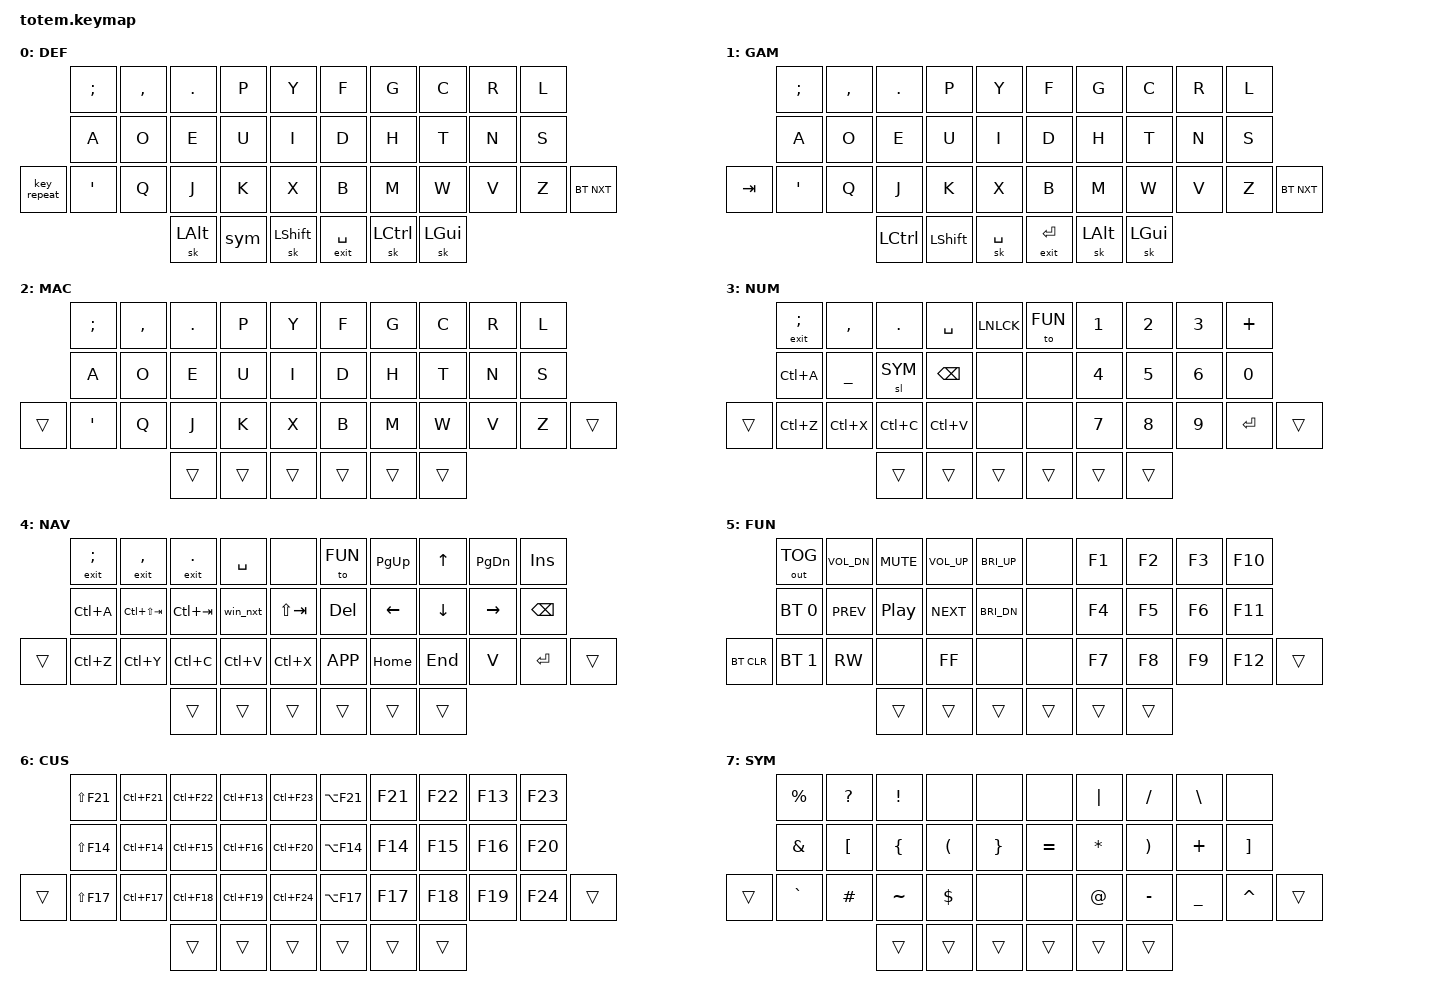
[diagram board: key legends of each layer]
//
//                                                        ▀▀▀▀▀     ▀▀▀▀▀          ▀▀█▀▀
//                                                        ▄▀▀▀▄  ▄  ▄▀▀▀▄  ▄  ▄▀▀▀▄  █  ▄▀▀▀▄
//                                                        █   █  █  █   █  █  █   █  █  █   █
//                                                         ▀▀▀   █   ▀▀▀   █   ▀▀▀   ▀   ▀▀▀
//                                                               █      ▄▄▄█▄▄▄    █   █  
//                                                               ▀      █  █  █     █▄█
//                                                             ▀▀▀▀▀    █  █  █      ▀
//                                                                      ▀  ▀  ▀
//
// ▄▄▄▄▄▄▄▄▄▄▄▄▄▄▄▄▄▄▄▄▄▄▄▄▄▄▄▄▄▄▄▄▄▄▄▄▄▄▄▄▄▄▄▄▄▄▄▄▄▄▄▄▄▄▄▄▄▄▄▄▄▄▄▄▄▄▄▄▄▄▄▄▄▄▄▄▄▄▄▄▄▄▄▄▄▄▄▄▄▄▄▄▄▄▄▄▄▄▄▄▄▄▄▄▄▄▄▄▄▄▄▄▄▄▄▄▄▄▄▄▄▄▄▄▄▄▄▄▄▄▄▄▄▄▄▄▄▄▄▄▄▄▄▄▄▄▄▄▄
       

#include <behaviors.dtsi>
#include <dt-bindings/zmk/keys.h>
#include <dt-bindings/zmk/bt.h>
#include <dt-bindings/zmk/outputs.h>

#define DEF 0
#define GAM 1
#define MAC 2
#define NUM 3
#define NAV 4
#define FUN 5
#define CUS 6
#define SYM 7

&mt {
  quick-tap-ms = <100>;
  global-quick-tap;
  flavor = "tap-preferred";
  tapping-term-ms = <170>;
};

&sk {
    release-after-ms = <2500>;
};
&sl {
    release-after-ms = <2500>;
};

/ {
     combos {
            compatible = "zmk,combos";
            combo_def {
                timeout-ms = <50>;
                key-positions = <11 12 13>;
                bindings = <&def>;
            };
            combo_esc {
                timeout-ms = <50>;
                key-positions = <10 11 12 13>;
                bindings = <&exit ESC>;
            };
            combo_bspc {
                timeout-ms = <50>;
                key-positions = <22 23>;
                bindings = <&exit BSPC>;
            };
            combo_enter {
                timeout-ms = <50>;
                key-positions = <23 24>;
                bindings = <&exit ENTER>;
            };
            combo_caps_word {
                timeout-ms = <50>;
                key-positions = <22 23 24>;
                bindings = <&caps_word>;
            };
            combo_tab {
                timeout-ms = <50>;
                key-positions = <27 28>;
                bindings = <&kp TAB>;
            };
            combo_alt_tab {
                timeout-ms = <50>;
                key-positions = <28 29>;
                bindings = <&kp LA(TAB)>;
            };
            combo_nav {
                timeout-ms = <50>;
                key-positions = <16 17 18>;
                bindings = <&to NAV>;
            };
            combo_esc_nav {
                timeout-ms = <50>;
                key-positions = <17 18 19>;
                bindings = <&esc_nav>;
            };
            combo_num {
                timeout-ms = <50>;
                key-positions = <16 17 18 19>;
                bindings = <&to NUM>;
            };
            combo_cus {
                timeout-ms = <50>;
                key-positions = <27 28 29>;
                bindings = <&sl CUS>;
            };
            combo_gam {
                timeout-ms = <50>;
                key-positions = <21 22 23 24>;
                bindings = <&to GAM>;
            };
    };

	macros {
		exit: exit {
            compatible = "zmk,behavior-macro-one-param";
            #binding-cells = <1>;
            bindings
				= <&to DEF>
				, <&macro_param_1to1>
				, <&macro_press &kp 0>
				, <&macro_pause_for_release>
				, <&macro_param_1to1>
				, <&macro_release &kp 0>
				;
		};
		def: def {
            compatible = "zmk,behavior-macro";
            #binding-cells = <0>;
            bindings
				= <&to DEF>
				, <&kp K_CANCEL>
				;
		};
		esc_nav: esc_nav {
            compatible = "zmk,behavior-macro";
            #binding-cells = <0>;
            bindings
				= <&to NAV>
				, <&kp K_CANCEL>
				, <&kp ESC>
				;
		};
		sym: sym {
            compatible = "zmk,behavior-macro";
            #binding-cells = <0>;
            bindings
				= <&to DEF>
				, <&sl SYM>
				;
		};
	};
	behaviors {
        win_nxt: win_nxt {
            compatible = "zmk,behavior-smart-toggle";
            #binding-cells = <0>;
            bindings = <&kp LALT>, <&kp TAB>;
            ignored-key-positions = <14>;
        };
    };


        keymap {
                compatible = "zmk,keymap";
// ▄▄▄▄▄▄▄▄▄▄▄▄▄▄▄▄▄▄▄▄▄▄▄▄▄▄▄▄▄▄▄▄▄▄▄▄▄▄▄▄▄▄▄▄▄▄▄▄▄▄▄▄▄▄▄▄▄▄▄▄▄▄▄▄▄▄▄▄▄▄▄▄▄▄▄▄▄▄▄▄▄▄▄▄▄▄▄▄▄▄▄▄▄▄▄▄▄▄▄▄▄▄▄▄▄▄▄▄▄▄▄▄▄▄▄▄▄▄▄▄▄▄▄▄▄▄▄▄▄▄▄▄▄▄▄▄▄▄▄▄▄▄▄▄▄▄▄▄▄

                def_layer {
// ┏━━━━━━━━━━━━━━━━━━━━━━━━━━━━━━━━━━━━━━━┓
label= "DEF"                               ;
// ┗━━━━━━━━━━━━━━━━━━━━━━━━━━━━━━━━━━━━━━━┛
//             ┏━━━━━━━━━━━┳━━━━━━━━━━━┳━━━━━━━━━━━┳━━━━━━━━━━━┳━━━━━━━━━━━┓   ┏━━━━━━━━━━━┳━━━━━━━━━━━┳━━━━━━━━━━━┳━━━━━━━━━━━┳━━━━━━━━━━━┓
//             ┃     0     ┃     1     ┃     2     ┃     3     ┃     4     ┃   ┃     5     ┃     6     ┃     7     ┃     8     ┃     9     ┃
//             ┣━━━━━━━━━━━╋━━━━━━━━━━━╋━━━━━━━━━━━╋━━━━━━━━━━━╋━━━━━━━━━━━┫   ┣━━━━━━━━━━━╋━━━━━━━━━━━╋━━━━━━━━━━━╋━━━━━━━━━━━╋━━━━━━━━━━━┫
//             ┃    10     ┃    11     ┃    12     ┃    13     ┃    14     ┃   ┃    15     ┃    16     ┃    17     ┃    18     ┃    19     ┃
// ┏━━━━━━━━━━━╋━━━━━━━━━━━╋━━━━━━━━━━━╋━━━━━━━━━━━╋━━━━━━━━━━━╋━━━━━━━━━━━┫   ┣━━━━━━━━━━━╋━━━━━━━━━━━╋━━━━━━━━━━━╋━━━━━━━━━━━╋━━━━━━━━━━━╋━━━━━━━━━━━┓
// ┃    20     ┃    21     ┃    22     ┃    23     ┃    24     ┃    25     ┃   ┃    26     ┃    27     ┃    28     ┃    29     ┃    30     ┃    31     ┃
// ┗━━━━━━━━━━━┻━━━━━━━━━━━┻━━━━━━━━━━━╋━━━━━━━━━━━╋━━━━━━━━━━━╋━━━━━━━━━━━┫   ┣━━━━━━━━━━━╋━━━━━━━━━━━╋━━━━━━━━━━━╋━━━━━━━━━━━┻━━━━━━━━━━━┻━━━━━━━━━━━┛
//                                     ┃    32     ┃    33     ┃    34     ┃   ┃    35     ┃    36     ┃    37     ┃
//                                     ┗━━━━━━━━━━━┻━━━━━━━━━━━┻━━━━━━━━━━━┛   ┗━━━━━━━━━━━┻━━━━━━━━━━━┻━━━━━━━━━━━┛
 bindings = <
// ╷           ╷           ╷           ╷           ╷           ╷           ╷   ╷           ╷           ╷           ╷           ╷           ╷           ╷

                &kp SEMI    &kp COMMA   &kp DOT     &kp P       &kp Y           &kp F       &kp G       &kp C       &kp R       &kp L
                &kp A       &kp O       &kp E       &kp U       &kp I           &kp D       &kp H       &kp T       &kp N       &kp S
    &key_repeat &kp SQT     &kp Q       &kp J       &kp K       &kp X           &kp B       &kp M       &kp W       &kp V       &kp Z       &bt BT_NXT
                                        &sk LALT    &sym        &sk LSHFT       &exit SPACE &sk LCTRL   &sk LGUI
                        >;
                };

// ▄▄▄▄▄▄▄▄▄▄▄▄▄▄▄▄▄▄▄▄▄▄▄▄▄▄▄▄▄▄▄▄▄▄▄▄▄▄▄▄▄▄▄▄▄▄▄▄▄▄▄▄▄▄▄▄▄▄▄▄▄▄▄▄▄▄▄▄▄▄▄▄▄▄▄▄▄▄▄▄▄▄▄▄▄▄▄▄▄▄▄▄▄▄▄▄▄▄▄▄▄▄▄▄▄▄▄▄▄▄▄▄▄▄▄▄▄▄▄▄▄▄▄▄▄▄▄▄▄▄▄▄▄▄▄▄▄▄▄▄▄▄▄▄▄▄▄▄▄

                game_layer {
// ┏━━━━━━━━━━━━━━━━━━━━━━━━━━━━━━━━━━━━━━━┓
label= "GAM"                               ;
// ┗━━━━━━━━━━━━━━━━━━━━━━━━━━━━━━━━━━━━━━━┛
//             ┏━━━━━━━━━━━┳━━━━━━━━━━━┳━━━━━━━━━━━┳━━━━━━━━━━━┳━━━━━━━━━━━┓   ┏━━━━━━━━━━━┳━━━━━━━━━━━┳━━━━━━━━━━━┳━━━━━━━━━━━┳━━━━━━━━━━━┓
//             ┃     0     ┃     1     ┃     2     ┃     3     ┃     4     ┃   ┃     5     ┃     6     ┃     7     ┃     8     ┃     9     ┃
//             ┣━━━━━━━━━━━╋━━━━━━━━━━━╋━━━━━━━━━━━╋━━━━━━━━━━━╋━━━━━━━━━━━┫   ┣━━━━━━━━━━━╋━━━━━━━━━━━╋━━━━━━━━━━━╋━━━━━━━━━━━╋━━━━━━━━━━━┫
//             ┃    10     ┃    11     ┃    12     ┃    13     ┃    14     ┃   ┃    15     ┃    16     ┃    17     ┃    18     ┃    19     ┃
// ┏━━━━━━━━━━━╋━━━━━━━━━━━╋━━━━━━━━━━━╋━━━━━━━━━━━╋━━━━━━━━━━━╋━━━━━━━━━━━┫   ┣━━━━━━━━━━━╋━━━━━━━━━━━╋━━━━━━━━━━━╋━━━━━━━━━━━╋━━━━━━━━━━━╋━━━━━━━━━━━┓
// ┃    20     ┃    21     ┃    22     ┃    23     ┃    24     ┃    25     ┃   ┃    26     ┃    27     ┃    28     ┃    29     ┃    30     ┃    31     ┃
// ┗━━━━━━━━━━━┻━━━━━━━━━━━┻━━━━━━━━━━━╋━━━━━━━━━━━╋━━━━━━━━━━━╋━━━━━━━━━━━┫   ┣━━━━━━━━━━━╋━━━━━━━━━━━╋━━━━━━━━━━━╋━━━━━━━━━━━┻━━━━━━━━━━━┻━━━━━━━━━━━┛
//                                     ┃    32     ┃    33     ┃    34     ┃   ┃    35     ┃    36     ┃    37     ┃
//                                     ┗━━━━━━━━━━━┻━━━━━━━━━━━┻━━━━━━━━━━━┛   ┗━━━━━━━━━━━┻━━━━━━━━━━━┻━━━━━━━━━━━┛
 bindings = <
// ╷           ╷           ╷           ╷           ╷           ╷           ╷   ╷           ╷           ╷           ╷           ╷           ╷           ╷

                &kp SEMI    &kp COMMA   &kp DOT     &kp P       &kp Y           &kp F       &kp G       &kp C       &kp R       &kp L
                &kp A       &kp O       &kp E       &kp U       &kp I           &kp D       &kp H       &kp T       &kp N       &kp S
    &kp TAB     &kp SQT     &kp Q       &kp J       &kp K       &kp X           &kp B       &kp M       &kp W       &kp V       &kp Z       &bt BT_NXT
                                        &kp LCTRL   &kp LSHFT   &sk SPACE       &exit ENTER &sk LALT   &sk LGUI
                        >;
                };

// ▄▄▄▄▄▄▄▄▄▄▄▄▄▄▄▄▄▄▄▄▄▄▄▄▄▄▄▄▄▄▄▄▄▄▄▄▄▄▄▄▄▄▄▄▄▄▄▄▄▄▄▄▄▄▄▄▄▄▄▄▄▄▄▄▄▄▄▄▄▄▄▄▄▄▄▄▄▄▄▄▄▄▄▄▄▄▄▄▄▄▄▄▄▄▄▄▄▄▄▄▄▄▄▄▄▄▄▄▄▄▄▄▄▄▄▄▄▄▄▄▄▄▄▄▄▄▄▄▄▄▄▄▄▄▄▄▄▄▄▄▄▄▄▄▄▄▄▄▄


                mac_layer {
// ┏━━━━━━━━━━━━━━━━━━━━━━━━━━━━━━━━━━━━━━━┓
label= "MAC"                               ;
// ┗━━━━━━━━━━━━━━━━━━━━━━━━━━━━━━━━━━━━━━━┛
//             ┏━━━━━━━━━━━┳━━━━━━━━━━━┳━━━━━━━━━━━┳━━━━━━━━━━━┳━━━━━━━━━━━┓   ┏━━━━━━━━━━━┳━━━━━━━━━━━┳━━━━━━━━━━━┳━━━━━━━━━━━┳━━━━━━━━━━━┓
//             ┃     0     ┃     1     ┃     2     ┃     3     ┃     4     ┃   ┃     5     ┃     6     ┃     7     ┃     8     ┃     9     ┃
//             ┣━━━━━━━━━━━╋━━━━━━━━━━━╋━━━━━━━━━━━╋━━━━━━━━━━━╋━━━━━━━━━━━┫   ┣━━━━━━━━━━━╋━━━━━━━━━━━╋━━━━━━━━━━━╋━━━━━━━━━━━╋━━━━━━━━━━━┫
//             ┃    10     ┃    11     ┃    12     ┃    13     ┃    14     ┃   ┃    15     ┃    16     ┃    17     ┃    18     ┃    19     ┃
// ┏━━━━━━━━━━━╋━━━━━━━━━━━╋━━━━━━━━━━━╋━━━━━━━━━━━╋━━━━━━━━━━━╋━━━━━━━━━━━┫   ┣━━━━━━━━━━━╋━━━━━━━━━━━╋━━━━━━━━━━━╋━━━━━━━━━━━╋━━━━━━━━━━━╋━━━━━━━━━━━┓
// ┃    20     ┃    21     ┃    22     ┃    23     ┃    24     ┃    25     ┃   ┃    26     ┃    27     ┃    28     ┃    29     ┃    30     ┃    31     ┃
// ┗━━━━━━━━━━━┻━━━━━━━━━━━┻━━━━━━━━━━━╋━━━━━━━━━━━╋━━━━━━━━━━━╋━━━━━━━━━━━┫   ┣━━━━━━━━━━━╋━━━━━━━━━━━╋━━━━━━━━━━━╋━━━━━━━━━━━┻━━━━━━━━━━━┻━━━━━━━━━━━┛
//                                     ┃    32     ┃    33     ┃    34     ┃   ┃    35     ┃    36     ┃    37     ┃
//                                     ┗━━━━━━━━━━━┻━━━━━━━━━━━┻━━━━━━━━━━━┛   ┗━━━━━━━━━━━┻━━━━━━━━━━━┻━━━━━━━━━━━┛
 bindings = <
// ╷           ╷           ╷           ╷           ╷           ╷           ╷   ╷           ╷           ╷           ╷           ╷           ╷           ╷

                &kp SEMI    &kp COMMA   &kp DOT     &kp P       &kp Y           &kp F       &kp G       &kp C       &kp R       &kp L
                &kp A       &kp O       &kp E       &kp U       &kp I           &kp D       &kp H       &kp T       &kp N       &kp S
    &trans      &kp SQT     &kp Q       &kp J       &kp K       &kp X           &kp B       &kp M       &kp W       &kp V       &kp Z       &trans
                                        &trans      &trans      &trans          &trans      &trans      &trans      
                        >;
                };

// ▄▄▄▄▄▄▄▄▄▄▄▄▄▄▄▄▄▄▄▄▄▄▄▄▄▄▄▄▄▄▄▄▄▄▄▄▄▄▄▄▄▄▄▄▄▄▄▄▄▄▄▄▄▄▄▄▄▄▄▄▄▄▄▄▄▄▄▄▄▄▄▄▄▄▄▄▄▄▄▄▄▄▄▄▄▄▄▄▄▄▄▄▄▄▄▄▄▄▄▄▄▄▄▄▄▄▄▄▄▄▄▄▄▄▄▄▄▄▄▄▄▄▄▄▄▄▄▄▄▄▄▄▄▄▄▄▄▄▄▄▄▄▄▄▄▄▄▄▄


                num_layer {
// ┏━━━━━━━━━━━━━━━━━━━━━━━━━━━━━━━━━━━━━━━┓
label= "NUM"                               ;
// ┗━━━━━━━━━━━━━━━━━━━━━━━━━━━━━━━━━━━━━━━┛
//             ┏━━━━━━━━━━━┳━━━━━━━━━━━┳━━━━━━━━━━━┳━━━━━━━━━━━┳━━━━━━━━━━━┓   ┏━━━━━━━━━━━┳━━━━━━━━━━━┳━━━━━━━━━━━┳━━━━━━━━━━━┳━━━━━━━━━━━┓
//             ┃           ┃           ┃           ┃           ┃           ┃   ┃           ┃           ┃           ┃           ┃           ┃
//             ┣━━━━━━━━━━━╋━━━━━━━━━━━╋━━━━━━━━━━━╋━━━━━━━━━━━╋━━━━━━━━━━━┫   ┣━━━━━━━━━━━╋━━━━━━━━━━━╋━━━━━━━━━━━╋━━━━━━━━━━━╋━━━━━━━━━━━┫
//             ┃           ┃           ┃           ┃           ┃           ┃   ┃           ┃           ┃           ┃           ┃           ┃
// ┏━━━━━━━━━━━╋━━━━━━━━━━━╋━━━━━━━━━━━╋━━━━━━━━━━━╋━━━━━━━━━━━╋━━━━━━━━━━━┫   ┣━━━━━━━━━━━╋━━━━━━━━━━━╋━━━━━━━━━━━╋━━━━━━━━━━━╋━━━━━━━━━━━╋━━━━━━━━━━━┓
// ┃           ┃           ┃           ┃           ┃           ┃           ┃   ┃           ┃           ┃           ┃           ┃           ┃           ┃
// ┗━━━━━━━━━━━┻━━━━━━━━━━━┻━━━━━━━━━━━╋━━━━━━━━━━━╋━━━━━━━━━━━╋━━━━━━━━━━━┫   ┣━━━━━━━━━━━╋━━━━━━━━━━━╋━━━━━━━━━━━╋━━━━━━━━━━━┻━━━━━━━━━━━┻━━━━━━━━━━━┛
//                                     ┃           ┃           ┃           ┃   ┃           ┃           ┃           ┃
//                                     ┗━━━━━━━━━━━┻━━━━━━━━━━━┻━━━━━━━━━━━┛   ┗━━━━━━━━━━━┻━━━━━━━━━━━┻━━━━━━━━━━━┛
 bindings = <
// ╷           ╷           ╷           ╷           ╷           ╷           ╷   ╷           ╷           ╷           ╷           ╷           ╷           ╷

                &exit SEMI  &kp COMMA   &kp DOT     &kp SPACE   &kp LNLCK       &to FUN     &kp N1      &kp N2      &kp N3      &kp PLUS
                &kp LC(A)   &kp UNDER   &sl SYM     &kp BSPC    &none           &none       &kp N4      &kp N5      &kp N6      &kp N0
    &trans      &kp LC(Z)   &kp LC(X)   &kp LC(C)   &kp LC(V)   &none           &none       &kp N7      &kp N8      &kp N9      &kp ENTER   &trans         
                                        &trans      &trans      &trans          &trans      &trans      &trans
                        >;
                };

// ▄▄▄▄▄▄▄▄▄▄▄▄▄▄▄▄▄▄▄▄▄▄▄▄▄▄▄▄▄▄▄▄▄▄▄▄▄▄▄▄▄▄▄▄▄▄▄▄▄▄▄▄▄▄▄▄▄▄▄▄▄▄▄▄▄▄▄▄▄▄▄▄▄▄▄▄▄▄▄▄▄▄▄▄▄▄▄▄▄▄▄▄▄▄▄▄▄▄▄▄▄▄▄▄▄▄▄▄▄▄▄▄▄▄▄▄▄▄▄▄▄▄▄▄▄▄▄▄▄▄▄▄▄▄▄▄▄▄▄▄▄▄▄▄▄▄▄▄▄


                nav_layer {
// ┏━━━━━━━━━━━━━━━━━━━━━━━━━━━━━━━━━━━━━━━┓
label= "NAV"                               ;
// ┗━━━━━━━━━━━━━━━━━━━━━━━━━━━━━━━━━━━━━━━┛
//             ┏━━━━━━━━━━━┳━━━━━━━━━━━┳━━━━━━━━━━━┳━━━━━━━━━━━┳━━━━━━━━━━━┓   ┏━━━━━━━━━━━┳━━━━━━━━━━━┳━━━━━━━━━━━┳━━━━━━━━━━━┳━━━━━━━━━━━┓
//             ┃           ┃           ┃           ┃           ┃           ┃   ┃           ┃           ┃           ┃           ┃           ┃
//             ┣━━━━━━━━━━━╋━━━━━━━━━━━╋━━━━━━━━━━━╋━━━━━━━━━━━╋━━━━━━━━━━━┫   ┣━━━━━━━━━━━╋━━━━━━━━━━━╋━━━━━━━━━━━╋━━━━━━━━━━━╋━━━━━━━━━━━┫
//             ┃           ┃           ┃           ┃           ┃           ┃   ┃           ┃           ┃           ┃           ┃           ┃
// ┏━━━━━━━━━━━╋━━━━━━━━━━━╋━━━━━━━━━━━╋━━━━━━━━━━━╋━━━━━━━━━━━╋━━━━━━━━━━━┫   ┣━━━━━━━━━━━╋━━━━━━━━━━━╋━━━━━━━━━━━╋━━━━━━━━━━━╋━━━━━━━━━━━╋━━━━━━━━━━━┓
// ┃           ┃           ┃           ┃           ┃           ┃           ┃   ┃           ┃           ┃           ┃           ┃           ┃           ┃
// ┗━━━━━━━━━━━┻━━━━━━━━━━━┻━━━━━━━━━━━╋━━━━━━━━━━━╋━━━━━━━━━━━╋━━━━━━━━━━━┫   ┣━━━━━━━━━━━╋━━━━━━━━━━━╋━━━━━━━━━━━╋━━━━━━━━━━━┻━━━━━━━━━━━┻━━━━━━━━━━━┛
//                                     ┃           ┃           ┃           ┃   ┃           ┃           ┃           ┃
//                                     ┗━━━━━━━━━━━┻━━━━━━━━━━━┻━━━━━━━━━━━┛   ┗━━━━━━━━━━━┻━━━━━━━━━━━┻━━━━━━━━━━━┛
 bindings = <
// ╷           ╷           ╷           ╷           ╷           ╷           ╷   ╷           ╷           ╷           ╷           ╷           ╷           ╷

                &exit SEMI &exit COMMA   &exit DOT   &kp SPACE  &none           &to FUN     &kp PG_UP   &kp UP      &kp PG_DN   &kp INS
                &kp LC(A) &kp LC(LS(TAB)) &kp LC(TAB) &win_nxt  &kp LS(TAB)     &kp DEL     &kp LEFT    &kp DOWN    &kp RIGHT   &kp BSPC  
    &trans      &kp LC(Z)  &kp LC(Y)   &kp LC(C)     &kp LC(V)  &kp LC(X)       &kp K_APP   &kp HOME    &kp END     &kp V       &kp ENTER   &trans
                                       &trans        &trans     &trans          &trans      &trans      &trans      
                        >;
                };

// ▄▄▄▄▄▄▄▄▄▄▄▄▄▄▄▄▄▄▄▄▄▄▄▄▄▄▄▄▄▄▄▄▄▄▄▄▄▄▄▄▄▄▄▄▄▄▄▄▄▄▄▄▄▄▄▄▄▄▄▄▄▄▄▄▄▄▄▄▄▄▄▄▄▄▄▄▄▄▄▄▄▄▄▄▄▄▄▄▄▄▄▄▄▄▄▄▄▄▄▄▄▄▄▄▄▄▄▄▄▄▄▄▄▄▄▄▄▄▄▄▄▄▄▄▄▄▄▄▄▄▄▄▄▄▄▄▄▄▄▄▄▄▄▄▄▄▄▄▄


                fun_layer {
// ┏━━━━━━━━━━━━━━━━━━━━━━━━━━━━━━━━━━━━━━━┓
label= "FUN"                               ;
// ┗━━━━━━━━━━━━━━━━━━━━━━━━━━━━━━━━━━━━━━━┛
//             ┏━━━━━━━━━━━┳━━━━━━━━━━━┳━━━━━━━━━━━┳━━━━━━━━━━━┳━━━━━━━━━━━┓   ┏━━━━━━━━━━━┳━━━━━━━━━━━┳━━━━━━━━━━━┳━━━━━━━━━━━┳━━━━━━━━━━━┓
//             ┃           ┃           ┃           ┃           ┃           ┃   ┃           ┃           ┃           ┃           ┃           ┃
//             ┣━━━━━━━━━━━╋━━━━━━━━━━━╋━━━━━━━━━━━╋━━━━━━━━━━━╋━━━━━━━━━━━┫   ┣━━━━━━━━━━━╋━━━━━━━━━━━╋━━━━━━━━━━━╋━━━━━━━━━━━╋━━━━━━━━━━━┫
//             ┃           ┃           ┃           ┃           ┃           ┃   ┃           ┃           ┃           ┃           ┃           ┃
// ┏━━━━━━━━━━━╋━━━━━━━━━━━╋━━━━━━━━━━━╋━━━━━━━━━━━╋━━━━━━━━━━━╋━━━━━━━━━━━┫   ┣━━━━━━━━━━━╋━━━━━━━━━━━╋━━━━━━━━━━━╋━━━━━━━━━━━╋━━━━━━━━━━━╋━━━━━━━━━━━┓
// ┃           ┃           ┃           ┃           ┃           ┃           ┃   ┃           ┃           ┃           ┃           ┃           ┃           ┃
// ┗━━━━━━━━━━━┻━━━━━━━━━━━┻━━━━━━━━━━━╋━━━━━━━━━━━╋━━━━━━━━━━━╋━━━━━━━━━━━┫   ┣━━━━━━━━━━━╋━━━━━━━━━━━╋━━━━━━━━━━━╋━━━━━━━━━━━┻━━━━━━━━━━━┻━━━━━━━━━━━┛
//                                     ┃           ┃           ┃           ┃   ┃           ┃           ┃           ┃
//                                     ┗━━━━━━━━━━━┻━━━━━━━━━━━┻━━━━━━━━━━━┛   ┗━━━━━━━━━━━┻━━━━━━━━━━━┻━━━━━━━━━━━┛
 bindings = <
// ╷           ╷           ╷           ╷           ╷           ╷           ╷   ╷           ╷           ╷           ╷           ╷           ╷           ╷

              &out OUT_TOG  &kp C_VOL_DN &kp C_MUTE &kp C_VOL_UP &kp C_BRI_UP   &none       &kp F1      &kp F2      &kp F3      &kp F10
              &bt BT_SEL 0  &kp C_PREV   &kp C_PP   &kp C_NEXT   &kp C_BRI_DN   &none       &kp F4      &kp F5      &kp F6      &kp F11
   &bt BT_CLR &bt BT_SEL 1  &kp C_RW     &none      &kp C_FF     &none          &none       &kp F7      &kp F8      &kp F9      &kp F12     &trans        
                                         &trans       &trans    &trans          &trans      &trans      &trans    
                        >;
                };

// ▄▄▄▄▄▄▄▄▄▄▄▄▄▄▄▄▄▄▄▄▄▄▄▄▄▄▄▄▄▄▄▄▄▄▄▄▄▄▄▄▄▄▄▄▄▄▄▄▄▄▄▄▄▄▄▄▄▄▄▄▄▄▄▄▄▄▄▄▄▄▄▄▄▄▄▄▄▄▄▄▄▄▄▄▄▄▄▄▄▄▄▄▄▄▄▄▄▄▄▄▄▄▄▄▄▄▄▄▄▄▄▄▄▄▄▄▄▄▄▄▄▄▄▄▄▄▄▄▄▄▄▄▄▄▄▄▄▄▄▄▄▄▄▄▄▄▄▄▄


                cus_layer {
// ┏━━━━━━━━━━━━━━━━━━━━━━━━━━━━━━━━━━━━━━━┓
label= "CUS"                               ;
// ┗━━━━━━━━━━━━━━━━━━━━━━━━━━━━━━━━━━━━━━━┛
//             ┏━━━━━━━━━━━┳━━━━━━━━━━━┳━━━━━━━━━━━┳━━━━━━━━━━━┳━━━━━━━━━━━┓   ┏━━━━━━━━━━━┳━━━━━━━━━━━┳━━━━━━━━━━━┳━━━━━━━━━━━┳━━━━━━━━━━━┓
//             ┃           ┃           ┃           ┃           ┃           ┃   ┃           ┃           ┃           ┃           ┃           ┃
//             ┣━━━━━━━━━━━╋━━━━━━━━━━━╋━━━━━━━━━━━╋━━━━━━━━━━━╋━━━━━━━━━━━┫   ┣━━━━━━━━━━━╋━━━━━━━━━━━╋━━━━━━━━━━━╋━━━━━━━━━━━╋━━━━━━━━━━━┫
//             ┃           ┃           ┃           ┃           ┃           ┃   ┃           ┃           ┃           ┃           ┃           ┃
// ┏━━━━━━━━━━━╋━━━━━━━━━━━╋━━━━━━━━━━━╋━━━━━━━━━━━╋━━━━━━━━━━━╋━━━━━━━━━━━┫   ┣━━━━━━━━━━━╋━━━━━━━━━━━╋━━━━━━━━━━━╋━━━━━━━━━━━╋━━━━━━━━━━━╋━━━━━━━━━━━┓
// ┃           ┃           ┃           ┃           ┃           ┃           ┃   ┃           ┃           ┃           ┃           ┃           ┃           ┃
// ┗━━━━━━━━━━━┻━━━━━━━━━━━┻━━━━━━━━━━━╋━━━━━━━━━━━╋━━━━━━━━━━━╋━━━━━━━━━━━┫   ┣━━━━━━━━━━━╋━━━━━━━━━━━╋━━━━━━━━━━━╋━━━━━━━━━━━┻━━━━━━━━━━━┻━━━━━━━━━━━┛
//                                     ┃           ┃           ┃           ┃   ┃           ┃           ┃           ┃
//                                     ┗━━━━━━━━━━━┻━━━━━━━━━━━┻━━━━━━━━━━━┛   ┗━━━━━━━━━━━┻━━━━━━━━━━━┻━━━━━━━━━━━┛
 bindings = <
// ╷           ╷           ╷           ╷           ╷           ╷           ╷   ╷           ╷           ╷           ╷           ╷           ╷           ╷

                &kp LS(F21) &kp LC(F21) &kp LC(F22) &kp LC(F13) &kp LC(F23)     &kp LA(F21) &kp F21     &kp F22     &kp F13     &kp F23
                &kp LS(F14) &kp LC(F14) &kp LC(F15) &kp LC(F16) &kp LC(F20)     &kp LA(F14) &kp F14     &kp F15     &kp F16     &kp F20
    &trans      &kp LS(F17) &kp LC(F17) &kp LC(F18) &kp LC(F19) &kp LC(F24)     &kp LA(F17) &kp F17     &kp F18     &kp F19     &kp F24     &trans        
                                        &trans      &trans      &trans          &trans      &trans      &trans    
                        >;
                };

// ▄▄▄▄▄▄▄▄▄▄▄▄▄▄▄▄▄▄▄▄▄▄▄▄▄▄▄▄▄▄▄▄▄▄▄▄▄▄▄▄▄▄▄▄▄▄▄▄▄▄▄▄▄▄▄▄▄▄▄▄▄▄▄▄▄▄▄▄▄▄▄▄▄▄▄▄▄▄▄▄▄▄▄▄▄▄▄▄▄▄▄▄▄▄▄▄▄▄▄▄▄▄▄▄▄▄▄▄▄▄▄▄▄▄▄▄▄▄▄▄▄▄▄▄▄▄▄▄▄▄▄▄▄▄▄▄▄▄▄▄▄▄▄▄▄▄▄▄▄


                sym_layer {
// ┏━━━━━━━━━━━━━━━━━━━━━━━━━━━━━━━━━━━━━━━┓
label= "SYM"                               ;
// ┗━━━━━━━━━━━━━━━━━━━━━━━━━━━━━━━━━━━━━━━┛
//             ┏━━━━━━━━━━━┳━━━━━━━━━━━┳━━━━━━━━━━━┳━━━━━━━━━━━┳━━━━━━━━━━━┓   ┏━━━━━━━━━━━┳━━━━━━━━━━━┳━━━━━━━━━━━┳━━━━━━━━━━━┳━━━━━━━━━━━┓
//             ┃           ┃           ┃           ┃           ┃           ┃   ┃           ┃           ┃           ┃           ┃           ┃
//             ┣━━━━━━━━━━━╋━━━━━━━━━━━╋━━━━━━━━━━━╋━━━━━━━━━━━╋━━━━━━━━━━━┫   ┣━━━━━━━━━━━╋━━━━━━━━━━━╋━━━━━━━━━━━╋━━━━━━━━━━━╋━━━━━━━━━━━┫
//             ┃           ┃           ┃           ┃           ┃           ┃   ┃           ┃           ┃           ┃           ┃           ┃
// ┏━━━━━━━━━━━╋━━━━━━━━━━━╋━━━━━━━━━━━╋━━━━━━━━━━━╋━━━━━━━━━━━╋━━━━━━━━━━━┫   ┣━━━━━━━━━━━╋━━━━━━━━━━━╋━━━━━━━━━━━╋━━━━━━━━━━━╋━━━━━━━━━━━╋━━━━━━━━━━━┓
// ┃           ┃           ┃           ┃           ┃           ┃           ┃   ┃           ┃           ┃           ┃           ┃           ┃           ┃
// ┗━━━━━━━━━━━┻━━━━━━━━━━━┻━━━━━━━━━━━╋━━━━━━━━━━━╋━━━━━━━━━━━╋━━━━━━━━━━━┫   ┣━━━━━━━━━━━╋━━━━━━━━━━━╋━━━━━━━━━━━╋━━━━━━━━━━━┻━━━━━━━━━━━┻━━━━━━━━━━━┛
//                                     ┃           ┃           ┃           ┃   ┃           ┃           ┃           ┃
//                                     ┗━━━━━━━━━━━┻━━━━━━━━━━━┻━━━━━━━━━━━┛   ┗━━━━━━━━━━━┻━━━━━━━━━━━┻━━━━━━━━━━━┛
 bindings = <
// ╷           ╷           ╷           ╷           ╷           ╷           ╷   ╷           ╷           ╷           ╷           ╷           ╷           ╷

                &kp PRCNT   &kp QMARK   &kp EXCL    &none       &none           &none       &kp PIPE    &kp FSLH    &kp BSLH    &none 
                &kp AMPS    &kp LBKT    &kp LBRC    &kp LPAR    &kp RBRC        &kp EQUAL   &kp STAR    &kp RPAR    &kp PLUS    &kp RBKT
    &trans      &kp GRAVE   &kp HASH    &kp TILDE   &kp DLLR    &none           &none       &kp AT      &kp MINUS   &kp UNDER   &kp CARET   &trans      
                                        &trans      &trans      &trans          &trans      &trans      &trans      
                        >;
                };

// ▄▄▄▄▄▄▄▄▄▄▄▄▄▄▄▄▄▄▄▄▄▄▄▄▄▄▄▄▄▄▄▄▄▄▄▄▄▄▄▄▄▄▄▄▄▄▄▄▄▄▄▄▄▄▄▄▄▄▄▄▄▄▄▄▄▄▄▄▄▄▄▄▄▄▄▄▄▄▄▄▄▄▄▄▄▄▄▄▄▄▄▄▄▄▄▄▄▄▄▄▄▄▄▄▄▄▄▄▄▄▄▄▄▄▄▄▄▄▄▄▄▄▄▄▄▄▄▄▄▄▄▄▄▄▄▄▄▄▄▄▄▄▄▄▄▄▄▄▄


        };
};
// todo trilayer for mac layers
